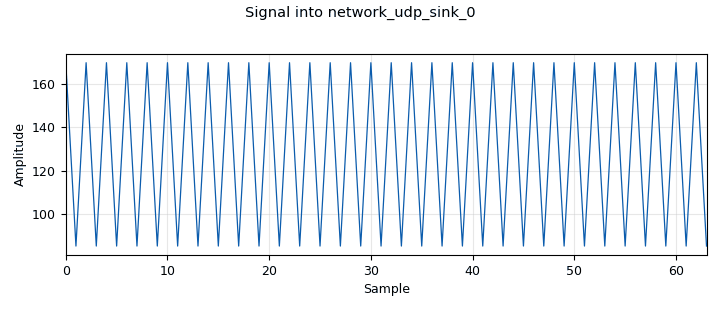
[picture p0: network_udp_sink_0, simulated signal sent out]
options:
  parameters:
    author: popo
    generate_options: qt_gui
    id: Pruebadelgmsk
    output_language: python
    title: Not titled yet
  states: {}

blocks:
- name: bt
  id: variable
  parameters:
    value: '0.35'
  states: {}
- name: ppm
  id: variable
  parameters:
    value: '0'
  states: {}
- name: rx_gain
  id: variable
  parameters:
    value: '20'
  states: {}
- name: samp_rate
  id: variable
  parameters:
    value: '32000'
  states: {}
- name: sps
  id: variable
  parameters:
    value: '4'
  states: {}
- name: tx_amp
  id: variable
  parameters:
    value: '0.05'
  states: {}
- name: tx_vga
  id: variable
  parameters:
    value: '0'
  states: {}
- name: udp_out_port
  id: variable
  parameters:
    value: '5001'
  states: {}
- name: udp_port
  id: variable
  parameters:
    value: '5000'
  states: {}
- name: blocks_pack_k_bits_bb_0
  id: blocks_pack_k_bits_bb
  parameters:
    k: '8'
  states: {}
- name: blocks_skiphead_0
  id: blocks_skiphead
  parameters:
    num_items: '1'
    type: byte
  states: {}
- name: blocks_throttle2_0
  id: blocks_throttle2
  parameters:
    samples_per_second: '10000'
    type: byte
  states: {}
- name: blocks_vector_source_x_0
  id: blocks_vector_source_x
  parameters:
    repeat: 'True'
    type: byte
    vector: (1,0,1,0,1,0,1,0, 0,1,0,1,0,1,0,1)
  states: {}
- name: digital_gmsk_demod_0
  id: digital_gmsk_demod
  parameters:
    freq_error: '0.0'
    gain_mu: '0.175'
    mu: '0.5'
    omega_relative_limit: '0.005'
    samples_per_symbol: sps
  states: {}
- name: digital_gmsk_mod_0
  id: digital_gmsk_mod
  parameters:
    bt: bt
    do_unpack: 'False'
    samples_per_symbol: sps
  states: {}
- name: network_udp_sink_0
  id: network_udp_sink
  parameters:
    addr: 127.0.0.1
    header: '0'
    payloadsize: '1472'
    port: '5001'
    send_eof: 'False'
    type: byte
  states: {}

connections:
- [blocks_pack_k_bits_bb_0, '0', network_udp_sink_0, '0']
- [blocks_skiphead_0, '0', blocks_pack_k_bits_bb_0, '0']
- [blocks_throttle2_0, '0', digital_gmsk_mod_0, '0']
- [blocks_vector_source_x_0, '0', blocks_throttle2_0, '0']
- [digital_gmsk_demod_0, '0', blocks_skiphead_0, '0']
- [digital_gmsk_mod_0, '0', digital_gmsk_demod_0, '0']

metadata:
  file_format: 1
  grc_version: 3.10.9.2
